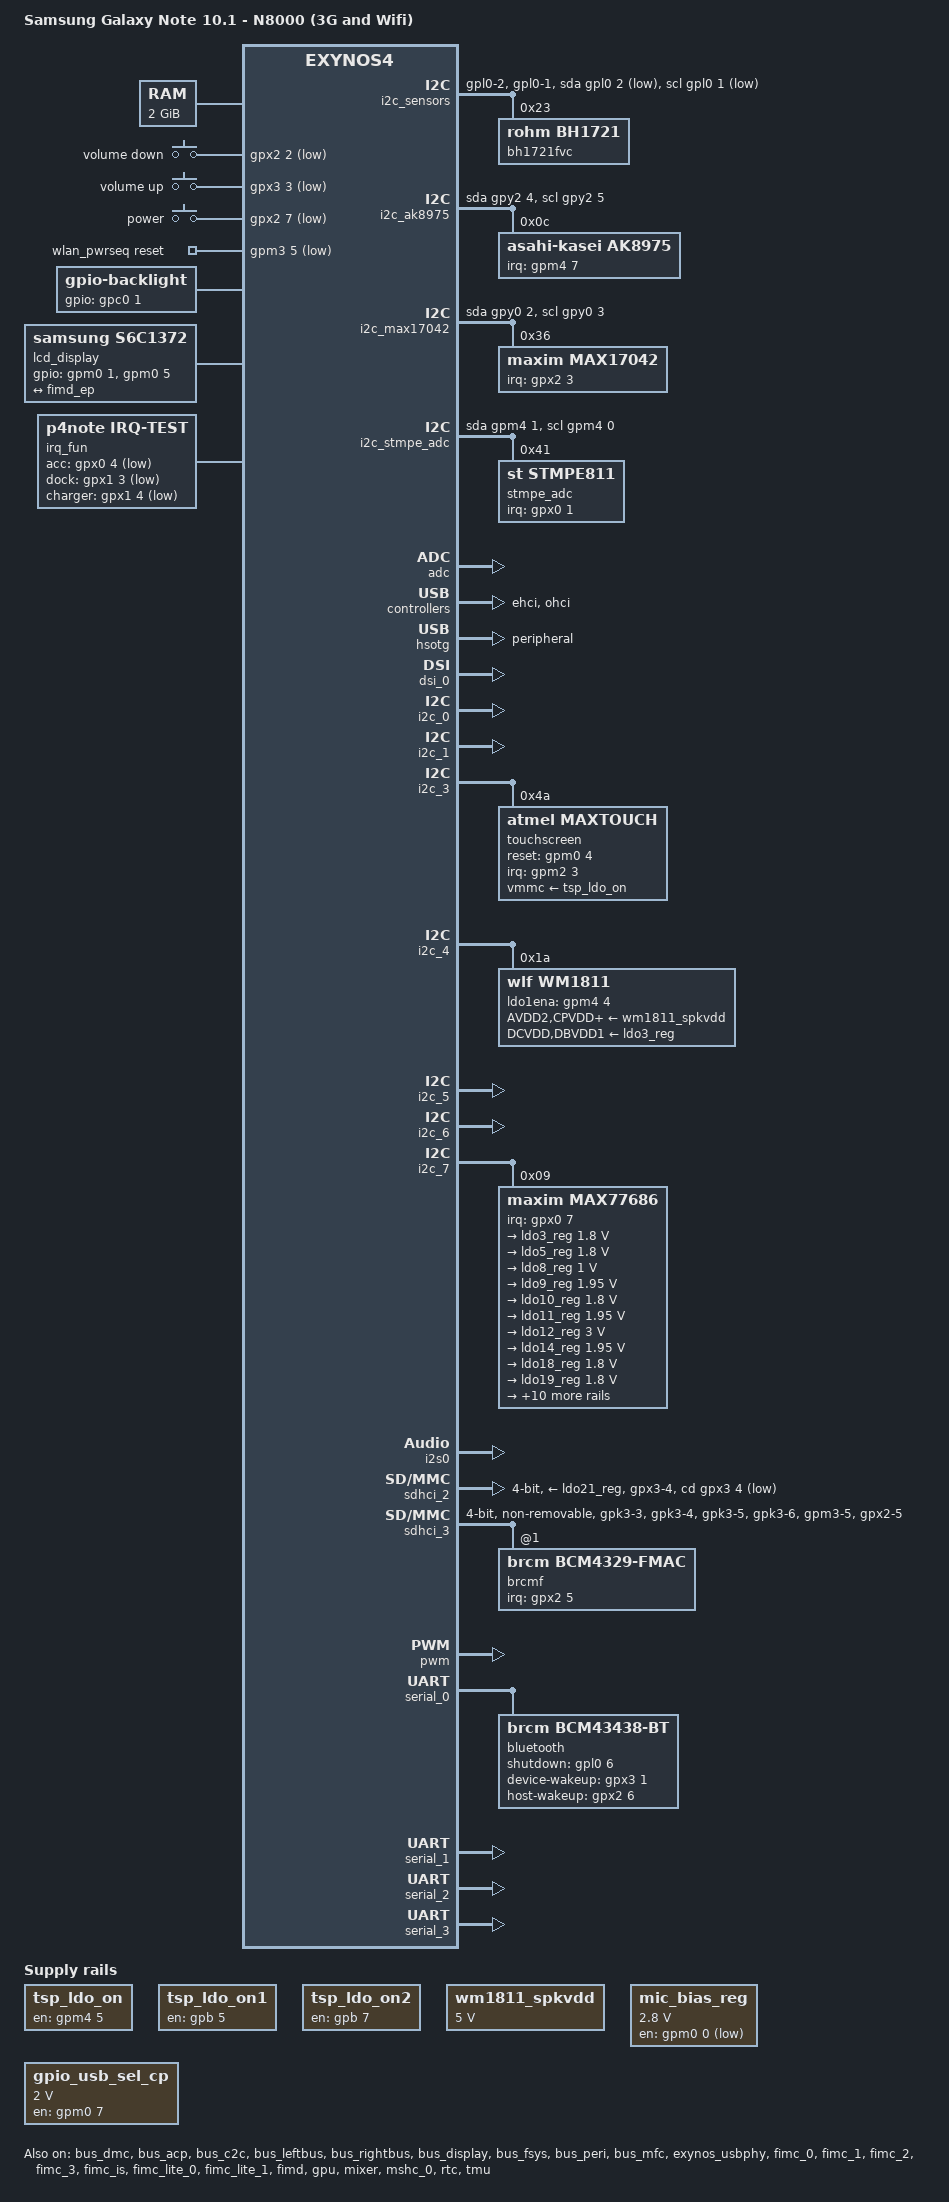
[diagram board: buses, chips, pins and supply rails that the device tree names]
// SPDX-License-Identifier: GPL-2.0
/*
 * Samsung's Exynos4412 based SMDK board device tree source
 *
 * Copyright (c) 2012-2013 Samsung Electronics Co., Ltd.
 *		http://www.samsung.com
 *
 * Device tree source file for Samsung's SMDK4412 board which is based on
 * Samsung's Exynos4412 SoC.
 */

/dts-v1/;
#include "exynos4412.dtsi"
#include "exynos4412-ppmu-common.dtsi"

#include <dt-bindings/input/input.h>
#include <dt-bindings/gpio/gpio.h>
#include <dt-bindings/input/gpio-keys.h>
#include <dt-bindings/interrupt-controller/irq.h>
#include <dt-bindings/clock/maxim,max77686.h>
#include <dt-bindings/pinctrl/samsung.h>

/ {
	model = "Samsung Galaxy Note 10.1 - N8000 (3G and Wifi)";
	compatible = "samsung,n8000", "samsung,smdk4412", "samsung,exynos4412", "samsung,exynos4";

	memory@40000000 {
		device_type = "memory";
		reg = <0x40000000 0x20000000
				0x60000000 0x20000000
				0x80000000 0x20000000
				0xA0000000 0x1FC00000>;
	};

	chosen {
		bootargs = "root=/dev/mmcblk2p9 rw ignore_loglevel earlyprintk init=/init androidboot.selinux=permissive androidboot.console=ttySAC2 androidboot.hardware=smdk4x12 no_console_suspend";
		stdout-path = "serial2:115200n8";
	};

	firmware@204f000 {
		compatible = "samsung,secure-firmware";
		reg = <0x0204F000 0x1000>;
	};

	fixed-rate-clocks {
		xxti {
			compatible = "samsung,clock-xxti", "fixed-clock";
			clock-frequency = <0>;
		};

		xusbxti {
			compatible = "samsung,clock-xusbxti", "fixed-clock";
			clock-frequency = <24000000>;
		};
	};

	gpio-keys {
		compatible = "gpio-keys";
		pinctrl-names = "default";
		pinctrl-0 = <&gpio_keys>;

		key-down {
			gpios = <&gpx2 2 GPIO_ACTIVE_LOW>;
			linux,code = <KEY_VOLUMEDOWN>;
			label = "volume down";
			debounce-interval = <10>;
		};

		key-up {
			gpios = <&gpx3 3 GPIO_ACTIVE_LOW>;
			linux,code = <KEY_VOLUMEUP>;
			label = "volume up";
			debounce-interval = <10>;
		};

		key-power {
			gpios = <&gpx2 7 GPIO_ACTIVE_LOW>;
			linux,code = <KEY_POWER>;
			label = "power";
			debounce-interval = <10>;
			linux,can-disable;
			wakeup-source;
		};
	};

	tsp_ldo_on: voltage-regulator-1 {
		compatible = "regulator-fixed";
		regulator-name = "TSP_LDO_ON";
		gpios = <&gpm4 5 GPIO_ACTIVE_HIGH>;
		enable-active-high;
	};

	tsp_ldo_on1: voltage-regulator-2 {
		compatible = "regulator-fixed";
		regulator-name = "TSP_LDO_ON1";
		gpios = <&gpb 5 GPIO_ACTIVE_HIGH>;
		enable-active-high;
	};

	tsp_ldo_on2: voltage-regulator-3 {
		compatible = "regulator-fixed";
		regulator-name = "TSP_LDO_ON2";
		gpios = <&gpb 7 GPIO_ACTIVE_HIGH>;
		enable-active-high;
	};

	wm1811_spkvdd: fixed-regulator-spkvdd {
		compatible = "regulator-fixed";
		regulator-name = "VBATT";
		regulator-min-microvolt = <5000000>;
		regulator-max-microvolt = <5000000>;
		regulator-always-on;
	};

	mic_bias_reg: mic-bias-reg {
		compatible = "regulator-fixed";
		regulator-name = "MICBIAS_LDO_2.8V";
		regulator-min-microvolt = <2800000>;
		regulator-max-microvolt = <2800000>;
		gpios = <&gpm0 0 GPIO_ACTIVE_HIGH>;
	};

	gpio_usb_sel_cp: voltage-regulator-4 {
		compatible = "regulator-fixed";
		regulator-name = "GPIO_USB_SEL_CP";
		regulator-min-microvolt = <2000000>;
		regulator-max-microvolt = <2000000>;
		gpios = <&gpm0 7 GPIO_ACTIVE_HIGH>;
		pinctrl-names = "default";
		pinctrl-0 = <&usb_cp>;
		enable-active-high;
	};

	wlan_pwrseq: sdhci3-pwrseq {
		compatible = "mmc-pwrseq-simple";
		reset-gpios = <&gpm3 5 GPIO_ACTIVE_LOW>;
		clocks = <&max77686 MAX77686_CLK_PMIC>;
		clock-names = "ext_clock";
	};

	backlight {
		compatible = "gpio-backlight";
		pinctrl-names = "default";
		pinctrl-0 = <&pinctrl_0>;
		gpios = <&gpc0 1 GPIO_ACTIVE_HIGH>;
		power-domains = <&pd_lcd0>;
	};

	lcd_display: s6c1372 {
		compatible = "samsung,s6c1372";
		gpios = <&gpm0 1 GPIO_ACTIVE_HIGH
					&gpm0 5 GPIO_ACTIVE_HIGH>;

		port {
			lcd_ep: endpoint {
				remote-endpoint = <&fimd_ep>;
			};
		};
	};

	irq_fun: irq-fun {
		compatible = "p4note,irq-test";

		pinctrl-names = "default";
		pinctrl-0 = <&accessory_int &dock_int &ta_connected_int>;

		acc-gpios = <&gpx0 4 GPIO_ACTIVE_LOW>;
		dock-gpios = <&gpx1 3 GPIO_ACTIVE_LOW>;
		charger-gpios = <&gpx1 4 GPIO_ACTIVE_LOW>;
	};

	i2c_sensors: i2c@9 {
		compatible = "i2c-gpio";
		sda-gpios = <&gpl0 2 (GPIO_ACTIVE_LOW|GPIO_OPEN_DRAIN)>;
		scl-gpios =	<&gpl0 1 (GPIO_ACTIVE_LOW|GPIO_OPEN_DRAIN)>;
		
		pinctrl-names = "default";
		pinctrl-0 = <&sensor_init>;

		i2c-gpio,delay-us = <2>;
		#address-cells = <1>;
		#size-cells = <0>;
		status = "okay";

		bh1721fvc: light-sensor@23 {
			compatible = "rohm,bh1721";
			reg = <0x23>;
		};

		/*
		al3201: light-sensor@1c {
			// to be ported
		};
		*/
	};

	i2c_ak8975: i2c@10 {
		compatible = "i2c-gpio";
		sda-gpios = <&gpy2 4 (GPIO_ACTIVE_HIGH|GPIO_OPEN_DRAIN)>;
		scl-gpios = <&gpy2 5 (GPIO_ACTIVE_HIGH|GPIO_OPEN_DRAIN)>;
		
		i2c-gpio,delay-us = <2>;
		#address-cells = <1>;
		#size-cells = <0>;
		status = "okay";

		ak8975: magnetometer@c {
			compatible = "asahi-kasei,ak8975";
			reg = <0x0c>;
			interrupt-parent = <&gpm4>;
			interrupts = <7 IRQ_TYPE_EDGE_RISING>;
			pinctrl-names = "default";
			pinctrl-0 = <&ak8975_interrupt>;
		};
	};

	/*
	i2c_smb347: i2c@13 {
		compatible = "i2c-gpio";
		sda-gpios = <&gpm2 0 (GPIO_ACTIVE_HIGH|GPIO_OPEN_DRAIN)>;
		scl-gpios = <&gpm2 1 (GPIO_ACTIVE_HIGH|GPIO_OPEN_DRAIN)>;

		i2c-gpio,delay-us = <2>;
		#address-cells = <1>;
		#size-cells = <0>;
		status = "okay";

		smb347: charger@6 {
			// need to add CONFIG_OF to driver
			compatible = "sme,smb347";
			reg = <0x6>;
			pinctrl-names = "default";
			pinctrl-0 = <&charger_change>;
			gpios = <&gpm4 2 GPIO_ACTIVE_HIGH>, // enable
					<&gpm0 3 GPIO_ACTIVE_HIGH>, // stat
					<&gpx1 4 GPIO_ACTIVE_HIGH>; // ta_nconnected
			
		};
	};
	*/

	i2c_max17042: i2c@14 {
		compatible = "i2c-gpio";
		sda-gpios = <&gpy0 2 (GPIO_ACTIVE_HIGH|GPIO_OPEN_DRAIN)>;
		scl-gpios = <&gpy0 3 (GPIO_ACTIVE_HIGH|GPIO_OPEN_DRAIN)>;
		
		i2c-gpio,delay-us = <2>;
		#address-cells = <1>;
		#size-cells = <0>;
		status = "okay";

		max17042: battery@36 {
			compatible = "maxim,max17042";
			reg = <0x36>;
			interrupts = <3 IRQ_TYPE_EDGE_FALLING>;
			interrupt-parent = <&gpx2>;
			maxim,rsns-microohm = <10000>;
			maxim,over-heat-temp = <600>;
			maxim,over-volt = <4300>;
		};
	};

	/* 
	i2c_isa1200: i2c@17 {
		compatible = "i2c-gpio";
		sda-gpios = <&gpm1 0 (GPIO_ACTIVE_HIGH|GPIO_OPEN_DRAIN)>;
		scl-gpios = <&gpm1 1 (GPIO_ACTIVE_HIGH|GPIO_OPEN_DRAIN)>;
		
		#address-cells = <1>;
		#size-cells = <0>;
		status = "okay";

		isa1200: motor@48 {
			// to be ported
		};
	};
	 */

	i2c_stmpe_adc: i2c@19 {	
		compatible = "i2c-gpio";
		sda-gpios = <&gpm4 1 (GPIO_ACTIVE_HIGH|GPIO_OPEN_DRAIN)>;
		scl-gpios = <&gpm4 0 (GPIO_ACTIVE_HIGH|GPIO_OPEN_DRAIN)>;

		i2c-gpio,delay-us = <5>;
		#address-cells = <1>;
		#size-cells = <0>;
		status = "okay";

		stmpe_adc: mfd-adc@41 {
			compatible = "st,stmpe811";
			reg = <0x41>;
			interrupt-parent = <&gpx0>;
			interrupts = <1 IRQ_TYPE_LEVEL_LOW>;
			interrupt-controller;
			irq-trigger = <0x1>;
			// Common ADC settings
			// 6.5 MHz ADC clock speed, not 1.625 as mentioned in the original kernel sources!
			st,adc-freq = <3>;
			// 12-bit ADC
			st,mod-12b = <1>;
			// internal ADC reference
			st,ref-sel = <0>;
			// ADC converstion time: 64 clocks
			st,sample-time = <3>;
			status = "okay";

			stmpe_adc {
				compatible = "st,stmpe-adc";
				// only allow requests on channel 4 (mic jack), channel 6 (battery temp?) and channel 7 (30 pin connector resistor)
				st,norequest-mask = <0x2F>;
			};
		};
	};

	/* 
	i2c_mc96: i2c@22 {
		compatible = "i2c-gpio";
		sda-gpios = <&gpy0 0 GPIO_ACTIVE_LOW>;
		scl-gpios = <&gpy0 1 GPIO_ACTIVE_LOW>;
		
		i2c-gpio,delay-us = <2>;
		#address-cells = <1>;
		#size-cells = <0>;
		status = "okay";

		mc96: irled@50 {
			// to be ported
		};
	};
	*/

	wm1811_n8000: sound {
		compatible = "samsung,smdk-wm8994";

		samsung,i2s-controller = <&i2s0>;
		samsung,audio-codec = <&wm1811>;
	};

	/*wm1811_n8000: sound {
		compatible = "samsung,midas-audio";
		model = "WM1811 @ N8000";
		mic-bias-supply = <&mic_bias_reg>;
		lineout-sel-gpios = <&gpj1 2 GPIO_ACTIVE_HIGH>;
		i2s-controller = <&i2s0>;
		audio-codec = <&wm1811>;
		samsung,audio-routing =
			"HP", "HPOUT1L",
			"HP", "HPOUT1R",

			"SPK", "SPKOUTLN",
			"SPK", "SPKOUTLP",
			"SPK", "SPKOUTRN",
			"SPK", "SPKOUTRP",

			"RCV", "HPOUT2N",
			"RCV", "HPOUT2P",

			//"LINE", "LINEOUT2N",
			//"LINE", "LINEOUT2P",

			"HDMI", "LINEOUT1N",
			"HDMI", "LINEOUT1P",

			"IN1LP", "MICBIAS1",
			"IN1LN", "MICBIAS1",
			//"MICBIAS1", "Main Mic",

			"IN1RP", "Sub Mic",
			"IN1RN", "Sub Mic";

			//"IN2LP:VXRN", "MICBIAS2",
			//"MICBIAS2", "Headset Mic",

			//"IN2RN", "FM In",
			//"IN2RP:VXRP", "FM In",

			//"IN2RN", "Third Mic",
			//"IN2RP:VXRP", "Third Mic";
	};*/

	thermal-zones {
		cpu_thermal: cpu-thermal {
			cooling-maps {
				map0 {
					/* Corresponds to 800MHz at freq_table */
					cooling-device = <&cpu0 7 7>, <&cpu1 7 7>,
						      <&cpu2 7 7>, <&cpu3 7 7>;
				};
				map1 {
					/* Corresponds to 200MHz at freq_table */
					cooling-device = <&cpu0 13 13>,
							<&cpu1 13 13>,
							<&cpu2 13 13>,
						<&cpu3 13 13>;
				};
			};
		};
	};

};

&adc {
	vdd-supply = <&ldo3_reg>;
	status = "okay";
};

&bus_dmc {
	devfreq-events = <&ppmu_dmc0_3>, <&ppmu_dmc1_3>;
	vdd-supply = <&buck1_reg>;
	status = "okay";
};

&bus_acp {
	devfreq = <&bus_dmc>;
	status = "okay";
};

&bus_c2c {
	devfreq = <&bus_dmc>;
	status = "okay";
};

&bus_leftbus {
	devfreq-events = <&ppmu_leftbus_3>, <&ppmu_rightbus_3>;
	vdd-supply = <&buck3_reg>;
	status = "okay";
};

&bus_rightbus {
	devfreq = <&bus_leftbus>;
	status = "okay";
};

&bus_display {
	devfreq = <&bus_leftbus>;
	status = "okay";
};

&bus_fsys {
	devfreq = <&bus_leftbus>;
	status = "okay";
};

&bus_peri {
	devfreq = <&bus_leftbus>;
	status = "okay";
};

&bus_mfc {
	devfreq = <&bus_leftbus>;
	status = "okay";
};

&cpu0 {
	cpu0-supply = <&buck2_reg>;
};

&exynos_usbphy {
	vbus-supply = <&gpio_usb_sel_cp>;
	status = "okay";
};

&ehci {
	status = "okay";
	port@0 {
		status = "okay";
		phy-names = "host";
	};
	port@1 {
		status = "okay";
		phy-names = "hsic0";
	};
	port@2 {
		status = "okay";
		phy-names = "hsic1";
	};
};

&ohci {
	status = "okay";
};

&hsotg {
	vusb_a-supply = <&ldo12_reg>;
	dr_mode = "peripheral";
	status = "okay";
};


&dsi_0 {
	vddcore-supply = <&ldo8_reg>;
	vddio-supply = <&ldo10_reg>;
	samsung,burst-clock-frequency = <500000000>;
	samsung,esc-clock-frequency = <20000000>;
	samsung,pll-clock-frequency = <24000000>;
	status = "okay";
	ports {
		#address-cells = <1>;
		#size-cells = <0>;

		port@1 {
			reg = <1>;

			dsi_out: endpoint@0 {
				status = "okay";
			};

		};

	};
};

&fimc_0 {
	status = "okay";
	assigned-clocks = <&clock CLK_MOUT_FIMC0>,
			<&clock CLK_SCLK_FIMC0>;
	assigned-clock-parents = <&clock CLK_MOUT_MPLL_USER_T>;
	assigned-clock-rates = <0>, <176000000>;
};

&fimc_1 {
	status = "okay";
	assigned-clocks = <&clock CLK_MOUT_FIMC1>,
			<&clock CLK_SCLK_FIMC1>;
	assigned-clock-parents = <&clock CLK_MOUT_MPLL_USER_T>;
	assigned-clock-rates = <0>, <176000000>;
};

&fimc_2 {
	status = "okay";
	assigned-clocks = <&clock CLK_MOUT_FIMC2>,
			<&clock CLK_SCLK_FIMC2>;
	assigned-clock-parents = <&clock CLK_MOUT_MPLL_USER_T>;
	assigned-clock-rates = <0>, <176000000>;
};

&fimc_3 {
	status = "okay";
	assigned-clocks = <&clock CLK_MOUT_FIMC3>,
			<&clock CLK_SCLK_FIMC3>;
	assigned-clock-parents = <&clock CLK_MOUT_MPLL_USER_T>;
	assigned-clock-rates = <0>, <176000000>;
};

&fimc_is {
	pinctrl-0 = <&fimc_is_uart>;
	pinctrl-names = "default";
	status = "okay";
};

&fimc_lite_0 {
	status = "okay";
};

&fimc_lite_1 {
	status = "okay";
};

&pmu_system_controller {
	compatible = "samsung,exynos4412-pmu", "syscon", "simple-mfd";
	assigned-clocks = <&pmu_system_controller 0>;
	assigned-clock-parents =  <&clock CLK_XUSBXTI>;

	reboot-mode {
		compatible = "syscon-reboot-mode";
		offset = <0x80c>;

		mode-normal = <0x12345670>;
		mode-bootloader = <0x12345671>;
		mode-download = <0x12345671>;
		mode-recovery = <0x12345674>;
	};
};


&fimd {
	pinctrl-0 = <&lcd_clk &lcd_data24 &pwm1_out>;
	pinctrl-names = "default";
	status = "okay";

	display-timings {
		native-mode = <&timing0>;
		timing0: 800p24 {
			/* 1280x800p24 */
			clock-frequency = <60000000>;
			hactive = <1280>;
			vactive = <800>;
			hfront-porch = <18>;
			hback-porch = <36>;
			hsync-len = <16>;
			vback-porch = <16>;
			vfront-porch = <4>;
			vsync-len = <3>;
			hsync-active = <1>;
		};
	};
	port@3 {
		fimd_ep: endpoint {
			remote-endpoint = <&lcd_ep>;
		};
	};
};

&i2c_0 {
	samsung,i2c-sda-delay = <100>;
	samsung,i2c-slave-addr = <0x10>;
	samsung,i2c-max-bus-freq = <400000>;
	pinctrl-0 = <&i2c1_bus>;
	pinctrl-names = "default";
	status = "okay";
};

&i2c_1 {
	samsung,i2c-sda-delay = <100>;
	samsung,i2c-slave-addr = <0x10>;
	samsung,i2c-max-bus-freq = <400000>;
	pinctrl-0 = <&i2c2_bus>;
	pinctrl-names = "default";
	status = "okay";
};

&i2c_3 {
	// touchscreen
	samsung,i2c-sda-delay = <100>;
	samsung,i2c-slave-addr = <0x10>;
	samsung,i2c-max-bus-freq = <400000>;
	pinctrl-0 = <&i2c3_bus>;
	pinctrl-names = "default";
	status = "okay";

	touchscreen@4a {
		compatible = "atmel,maxtouch";
		reg = <0x4A>;
		reset-gpios = <&gpm0 4 GPIO_ACTIVE_HIGH>;
		interrupt-parent = <&gpm2>;
		interrupts = <3 IRQ_TYPE_LEVEL_LOW>;
		pinctrl-0 = <&tsp_ldo_init &tsp_rst &tsp_int>;
		pinctrl-names = "default";
		vmmc-supply = <&tsp_ldo_on &tsp_ldo_on1 &tsp_ldo_on2>;
		linux,gpio-keymap = <KEY_RESERVED KEY_RESERVED KEY_RESERVED BTN_TOUCH>;
	};
};

&i2c_4 {
	// audio
	samsung,i2c-sda-delay = <100>;
	samsung,i2c-slave-addr = <0x10>;
	samsung,i2c-max-bus-freq = <100000>;
	pinctrl-0 = <&i2c4_bus>;
	pinctrl-names = "default";
	status = "okay";

	wm1811: wm1811@1a {
		compatible = "wlf,wm1811";
		reg = <0x1a>;
		
		clocks = <&pmu_system_controller 0>,
				<&max77686 MAX77686_CLK_PMIC>;
		clock-names = "MCLK1", "MCLK2";
		
		gpio-controller;
		#gpio-cells = <2>;

		AVDD2-supply = <&wm1811_spkvdd>;
		DCVDD-supply = <&ldo3_reg>;
		CPVDD-supply = <&wm1811_spkvdd>;
		DBVDD1-supply = <&ldo3_reg>;
		DBVDD2-supply = <&wm1811_spkvdd>;
		DBVDD3-supply = <&wm1811_spkvdd>;
		SPKVDD1-supply = <&wm1811_spkvdd>;
		SPKVDD2-supply = <&wm1811_spkvdd>;
		
		wlf,micbias-cfg = <0x2F 0x27>;
		wlf,gpio-cfg = <0x3 0x0 0x0 0x0 0x0 0x0 0x0 0x8000 0x0 0x0 0x0>;
		
		wlf,lineout1-feedback;
		wlf,lineout1-se;
		wlf,lineout2-se;
		
		wlf,ldo1ena-gpios = <&gpm4 4 GPIO_ACTIVE_HIGH>;
		wlf,ldoena-always-driven;
	};
};

&i2c_5 {
	// this should be max77686 but hangs if moved over here
	samsung,i2c-sda-delay = <100>;
	samsung,i2c-slave-addr = <0x10>;
	samsung,i2c-max-bus-freq = <400000>;
	pinctrl-0 = <&i2c5_bus>;
	pinctrl-names = "default";
	status = "okay";
};


&i2c_6 {
	// wacom pen
	samsung,i2c-sda-delay = <100>;
	samsung,i2c-slave-addr = <0x10>;
	samsung,i2c-max-bus-freq = <400000>;
	pinctrl-0 = <&i2c6_bus>;
	pinctrl-names = "default";
	status = "okay";
};

&i2c_7 {
	// it looks like a max77686, it moves like a max77686 but this shouldn't be a max77686
	samsung,i2c-sda-delay = <100>;
	samsung,i2c-slave-addr = <0x10>;
	samsung,i2c-max-bus-freq = <400000>;
	pinctrl-0 = <&i2c7_bus>;
	pinctrl-names = "default";
	status = "okay";

	max77686: max77686_pmic@9 {
		compatible = "maxim,max77686";
		interrupt-parent = <&gpx0>;
		interrupts = <7 IRQ_TYPE_NONE>;
		pinctrl-0 = <&max77686_irq>;
		pinctrl-names = "default";
		reg = <0x09>;
		#clock-cells = <1>;

		voltage-regulators {
			
			// WM8994 audio
			ldo3_reg: LDO3 {
				regulator-name = "VCC_1.8V_AP";
				regulator-min-microvolt = <1800000>;
				regulator-max-microvolt = <1800000>;
				regulator-always-on;
				regulator-boot-on;

				regulator-state-mem {
					regulator-on-in-suspend;
				};
			};

			// ?
			ldo5_reg: LDO5 {
				regulator-name = "VCC_1.8V_IO";
				regulator-min-microvolt = <1800000>;
				regulator-max-microvolt = <1800000>;

				regulator-state-mem {
					regulator-off-in-suspend;
				};
			};

			// CAMERA/LCD/HDMI
			ldo8_reg: LDO8 {
				regulator-name = "VMIPI_1.0V";
				regulator-min-microvolt = <1000000>;
				regulator-max-microvolt = <1000000>;
				regulator-always-on;
				regulator-boot-on;

				regulator-state-mem {
					regulator-on-in-suspend;
				};
			};

			// IRDA: on/off
			ldo9_reg: LDO9 {
				regulator-name = "VLED_IC_1.9V";
				regulator-min-microvolt = <1950000>;
				regulator-max-microvolt = <1950000>;
				regulator-always-on;
				regulator-boot-on;

				regulator-state-mem {
					regulator-off-in-suspend;
				};
			};

			// CAMERA/LCD/HDMI
			ldo10_reg: LDO10 {
				regulator-name = "VMIPI_1.8V";
				regulator-min-microvolt = <1800000>;
				regulator-max-microvolt = <1800000>;
				regulator-always-on;
				regulator-boot-on;

				regulator-state-mem {
					regulator-on-in-suspend;
				};
			};

			// ?
			ldo11_reg: LDO11 {
				regulator-name = "VABB1_1.9V";
				regulator-min-microvolt = <1950000>;
				regulator-max-microvolt = <1950000>;
				regulator-always-on;
				regulator-boot-on;

				regulator-state-mem {
					regulator-off-in-suspend;
				};
			};

			// ?
			ldo12_reg: LDO12 {
				regulator-name = "VUOTG_3.0V";
				regulator-min-microvolt = <3000000>;
				regulator-max-microvolt = <3000000>;
				regulator-always-on;
				regulator-boot-on;

				regulator-state-mem {
					regulator-on-in-suspend;
				};
			};

			// ?
			ldo14_reg: LDO14 {
				regulator-name = "VABB2_1.9V";
				regulator-min-microvolt = <1950000>;
				regulator-max-microvolt = <1950000>;
				regulator-always-on;
				regulator-boot-on;

				regulator-state-mem {
					regulator-off-in-suspend;
				};
			};

			// CAM: ISX012
			ldo18_reg: LDO18 {
				regulator-name = "CAM_IO_1.8V";
				regulator-min-microvolt = <1800000>;
				regulator-max-microvolt = <1800000>;

				regulator-state-mem {
					regulator-off-in-suspend;
				};
			};

			// CAM: S5K6A3
			ldo19_reg: LDO19 {
				regulator-name = "VT_CORE_1.8V";
				regulator-min-microvolt = <1800000>;
				regulator-max-microvolt = <1800000>;

				regulator-state-mem {
					regulator-off-in-suspend;
				};
			};

			// MMC2
			ldo21_reg: LDO21 {
				regulator-name = "VTF_2.8V";
				regulator-min-microvolt = <2800000>;
				regulator-max-microvolt = <2800000>;
				maxim,ena-gpios = <&gpy0 4 GPIO_ACTIVE_HIGH>;

				regulator-state-mem {
					regulator-off-in-suspend;
				};
			};

			// ? vdd_adc_3.3v
			ldo23_reg: LDO23 {
				regulator-name = "VDD_ADC_3.3V";
				regulator-min-microvolt = <3300000>;
				regulator-max-microvolt = <3300000>;
				regulator-always-on;
				regulator-boot-on;

				regulator-state-mem {
					regulator-off-in-suspend;
				};
			};

			// CAM: S5K6A3
			ldo24_reg: LDO24 {
				regulator-name = "CAM_A2.8V";
				regulator-min-microvolt = <2800000>;
				regulator-max-microvolt = <2800000>;

				regulator-state-mem {
					regulator-off-in-suspend;
				};
			};

			// IRDA: sending
			ldo25_reg: LDO25 {
				regulator-name = "VLED_3.3V";
				regulator-min-microvolt = <3300000>;
				regulator-max-microvolt = <3300000>;

				regulator-state-mem {
					regulator-off-in-suspend;
				};
			};

			// CAM: ISX012
			ldo26_reg: LDO26 {
				regulator-name = "3MP_AF_2.8V";
				regulator-min-microvolt = <2800000>;
				regulator-max-microvolt = <2800000>;

				regulator-state-mem {
					regulator-off-in-suspend;
				};
			};

			// exynos4412-busfreq
			buck1_reg: BUCK1 {
				regulator-name = "vdd_mif";
				regulator-min-microvolt = <850000>;
				regulator-max-microvolt = <1050000>;
				regulator-always-on;
				regulator-boot-on;
			};

			// cpu freq
			buck2_reg: BUCK2 {
				regulator-name = "vdd_arm";
				regulator-min-microvolt = <850000>;
				regulator-max-microvolt = <1500000>;
				regulator-always-on;
				regulator-boot-on;
			};

			// exynoss4412-busfreq
			buck3_reg: BUCK3 {
				regulator-name = "vdd_int";
				regulator-min-microvolt = <850000>;
				regulator-max-microvolt = <1100000>;
				regulator-always-on;
				regulator-boot-on;
			};

			// mali GPU
			buck4_reg: BUCK4 {
				regulator-name = "vdd_g3d";
				regulator-min-microvolt = <850000>;
				regulator-max-microvolt = <1075000>;
				regulator-boot-on;
				
			};

			// CAM: ISX012
			buck9_reg: BUCK9 {
				regulator-name = "3MP_CORE_1.2V";
				regulator-min-microvolt = <1200000>;
				regulator-max-microvolt = <1200000>;
				regulator-state-mem {
					regulator-off-in-suspend;
				};
			};
		};
	};
};

&gpu {
	mali-supply = <&buck4_reg>;
	status = "okay";
};

&i2s0 {
	pinctrl-0 = <&i2s0_bus>;
	pinctrl-names = "default";
	status = "okay";
};

&mixer {
	status = "okay";
};

&sdhci_2 {
	bus-width = <4>;
	cd-gpios = <&gpx3 4 GPIO_ACTIVE_LOW>;
	pinctrl-0 = <&sd2_clk &sd2_cmd &sd2_bus4 &sdhci2_cd>;
	pinctrl-names = "default";
	vmmc-supply = <&ldo21_reg>;
	status = "okay";
};

// internal memory
&mshc_0 {
	broken-cd;
	non-removable;
	card-detect-delay = <200>;
	clock-frequency = <400000000>;
	samsung,dw-mshc-ciu-div = <0>;
	samsung,dw-mshc-sdr-timing = <2 3>;
	samsung,dw-mshc-ddr-timing = <1 2>;
	pinctrl-0 = <&sd4_clk &sd4_cmd &sd4_bus4 &sd4_bus8>;
	pinctrl-names = "default";
	status = "okay";
	bus-width = <4>;
	cap-mmc-highspeed;
	cap-sd-highspeed;
};

// sdcard
&sdhci_3 {
	#address-cells = <1>;
	#size-cells = <0>;
	non-removable;
	bus-width = <4>;
	mmc-pwrseq = <&wlan_pwrseq>;

	pinctrl-names = "default";
	pinctrl-0 = <&sd3_clk &sd3_cmd &sd3_wifi &wifi_on &wifi_host_wake>;
	status = "okay";

	brcmf: wifi@1 {
		reg = <1>;
		compatible = "brcm,bcm4329-fmac";
		interrupt-parent = <&gpx2>;
		interrupts = <5 IRQ_TYPE_LEVEL_HIGH>;
		interrupt-names = "host-wake";
	};
};

&pinctrl_0 {
	pinctrl-names = "default";
	pinctrl-0 = <&sleep0 &ear_mic_bias &lineout_en>;

	tsp_ldo_init: tsp-ldo-init {
		samsung,pins = "gpb-5", "gpb-7";
		samsung,pin-function = <EXYNOS_PIN_FUNC_OUTPUT>;
		samsung,pin-pud = <EXYNOS_PIN_PULL_NONE>;
		samsung,pin-val = <1>;
	};

	ear_mic_bias: ear-mic-bias {
		samsung,pins = "gpj0-3";
		samsung,pin-function = <EXYNOS_PIN_FUNC_OUTPUT>;
		samsung,pin-pud = <EXYNOS_PIN_PULL_NONE>;
	};

	lineout_en: lineout-en {
		samsung,pins = "gpj1-2";
		samsung,pin-function = <EXYNOS_PIN_FUNC_OUTPUT>;
		samsung,pin-pud = <EXYNOS_PIN_PULL_NONE>;
	};

	sleep0: sleep-states {
		PIN_SLP(gpa0-0, INPUT, NONE); /* Bluetooth RXD */
		PIN_SLP(gpa0-1, OUT0, NONE); /* Bluetooth TXD */
		PIN_SLP(gpa0-2, INPUT, NONE); /* Bluetooth CTS */
		PIN_SLP(gpa0-3, INPUT, UP); /* Bluetooth RTS */
		PIN_SLP(gpa0-4, INPUT, NONE); /* GPS RXD */
		PIN_SLP(gpa0-5, INPUT, DOWN); /* GPS TXD */
		PIN_SLP(gpa0-6, INPUT, DOWN); /* GPS CTS */
		PIN_SLP(gpa0-7, INPUT, UP); /* GPS RTS */

		PIN_SLP(gpa1-0, INPUT, DOWN); /* ? UART 2 RXD ? */
		PIN_SLP(gpa1-1, INPUT, DOWN); /* ? UART 2 TXD ? */
		PIN_SLP(gpa1-2, INPUT, DOWN); /* TS SDA 18V */
		PIN_SLP(gpa1-3, INPUT, DOWN); /* TS SCL 18V */
		PIN_SLP(gpa1-4, INPUT, DOWN); /* NC(IPC_RXD) -> Modem */
		PIN_SLP(gpa1-5, INPUT, DOWN); /* NC(IPC_TXD) -> Modem */

		PIN_SLP(gpb-0, INPUT, NONE);
		PIN_SLP(gpb-1, INPUT, NONE);
		PIN_SLP(gpb-2, INPUT, NONE);
		PIN_SLP(gpb-3, INPUT, NONE);
		PIN_SLP(gpb-4, INPUT, DOWN);
		PIN_SLP(gpb-5, INPUT, DOWN); /* NC */
		PIN_SLP(gpb-6, INPUT, DOWN);
		PIN_SLP(gpb-7, INPUT, DOWN);

		PIN_SLP(gpc0-0, INPUT, DOWN); /* REC_PCM_CLK(NC) */
		PIN_SLP(gpc0-1, INPUT, DOWN); /* LCD_EN */
		PIN_SLP(gpc0-2, INPUT, DOWN); /* REC_PCM_SYNC(NC) */
		PIN_SLP(gpc0-3, INPUT, DOWN); /* REC_PCM_IN(NC) */
		PIN_SLP(gpc0-4, INPUT, DOWN); /* REC_PCM_OUT(NC) */

		PIN_SLP(gpc1-0, INPUT, UP); /* PEN_PDCT */
		PIN_SLP(gpc1-1, PREV, NONE); /* PEN_LDO_EN */
		PIN_SLP(gpc1-2, INPUT, UP); /* PEN_IRQ_1.8V */
		PIN_SLP(gpc1-3, INPUT, UP); /* PEN_SDA_1.8V */
		PIN_SLP(gpc1-4, INPUT, UP); /* PEN_SCL_1.8V */

		PIN_SLP(gpd0-0, INPUT, DOWN); /* NC */
		PIN_SLP(gpd0-1, OUT0, NONE); /* LED_BACKLIGHT_PWM */
		PIN_SLP(gpd0-2, INPUT, NONE);
		PIN_SLP(gpd0-3, INPUT, NONE);

		PIN_SLP(gpd1-0, INPUT, DOWN); /* 3M_SDA_1.8V */
		PIN_SLP(gpd1-1, INPUT, DOWN); /* 3M_SCL_1.8V */
		PIN_SLP(gpd1-2, INPUT, NONE);
		PIN_SLP(gpd1-3, INPUT, NONE);

		PIN_SLP(gpf0-0, OUT0, NONE); /* LCD_HSYNC */
		PIN_SLP(gpf0-1, OUT0, NONE); /* LCD_VSYNC */
		PIN_SLP(gpf0-2, OUT0, NONE); /* LCD_DE */
		PIN_SLP(gpf0-3, OUT0, NONE); /* LCD_PCLK */
		PIN_SLP(gpf0-4, OUT0, NONE); /* LCD_D */
		PIN_SLP(gpf0-5, OUT0, NONE); /* LCD_D */
		PIN_SLP(gpf0-6, OUT0, NONE); /* LCD_D */
		PIN_SLP(gpf0-7, OUT0, NONE); /* LCD_D */

		PIN_SLP(gpf1-0, OUT0, NONE); /* LCD_D */
		PIN_SLP(gpf1-1, OUT0, NONE); /* LCD_D */
		PIN_SLP(gpf1-2, OUT0, NONE); /* LCD_D */
		PIN_SLP(gpf1-3, OUT0, NONE); /* LCD_D */
		PIN_SLP(gpf1-4, OUT0, NONE); /* LCD_D */
		PIN_SLP(gpf1-5, OUT0, NONE); /* LCD_D */
		PIN_SLP(gpf1-6, OUT0, NONE); /* LCD_D */
		PIN_SLP(gpf1-7, OUT0, NONE); /* LCD_D */

		PIN_SLP(gpf2-0, OUT0, NONE); /* LCD_D */
		PIN_SLP(gpf2-1, OUT0, NONE); /* LCD_D */
		PIN_SLP(gpf2-2, OUT0, NONE); /* LCD_D */
		PIN_SLP(gpf2-3, OUT0, NONE); /* LCD_D */
		PIN_SLP(gpf2-4, OUT0, NONE); /* LCD_D */
		PIN_SLP(gpf2-5, OUT0, NONE); /* LCD_D */
		PIN_SLP(gpf2-6, OUT0, NONE); /* LCD_D */
		PIN_SLP(gpf2-7, OUT0, NONE); /* LCD_D */

		PIN_SLP(gpf3-0, OUT0, NONE); /* LCD_D */
		PIN_SLP(gpf3-1, OUT0, NONE); /* LCD_D */
		PIN_SLP(gpf3-2, OUT0, NONE); /* LCD_D */
		PIN_SLP(gpf3-3, OUT0, NONE); /* LCD_D */
		PIN_SLP(gpf3-4, OUT0, NONE); /* MHL_RST */
		PIN_SLP(gpf3-5, OUT0, NONE); /* MHL_INT */

		PIN_SLP(gpj0-0, INPUT, DOWN); /* NC */
		PIN_SLP(gpj0-1, INPUT, DOWN); /* NC */
		PIN_SLP(gpj0-2, INPUT, DOWN); /* NC */
		PIN_SLP(gpj0-3, PREV, NONE); /* EAR_MICBIAS_EN */
		PIN_SLP(gpj0-4, PREV, NONE); /* TA_ENABLE */
		PIN_SLP(gpj0-5, OUT0, NONE); /* CAM_EN2 */
		PIN_SLP(gpj0-6, OUT0, NONE); /* CAM_EN1 */
		PIN_SLP(gpj0-7, OUT0, NONE); /* 5M_nSTBY */

		PIN_SLP(gpj1-0, OUT0, NONE); /* VT_CAM_nRST */
		PIN_SLP(gpj1-1, INPUT, DOWN); /* NC */
		PIN_SLP(gpj1-2, PREV, NONE); /* LINEOUT_EN */
		PIN_SLP(gpj1-3, OUT0, NONE); /* 5M_MCLK */
	};
};

&pinctrl_1 {
	pinctrl-names = "default";
	pinctrl-0 = <&sleep1 &uart_sel &usb_acc_en &usb_acc_5v &main_mic_bias>;

	usb_sel1: usb-sel0 {
		samsung,pins = "gpy0-4";
		samsung,pin-function = <EXYNOS_PIN_FUNC_OUTPUT>;
		samsung,pin-pud = <EXYNOS_PIN_PULL_NONE>;
	};

	usb_sel2: usb-sel1 {
		samsung,pins = "gpy0-5";
		samsung,pin-function = <EXYNOS_PIN_FUNC_OUTPUT>;
		samsung,pin-pud = <EXYNOS_PIN_PULL_NONE>;
	};

	usb_cp: usb-cp {
		samsung,pins = "gpm0-7";
		samsung,pin-function = <EXYNOS_PIN_FUNC_OUTPUT>;
		samsung,pin-pud = <EXYNOS_PIN_PULL_NONE>;
	};

	uart_sel: uart-sel {
		samsung,pins = "gpl2-7";
		samsung,pin-function = <EXYNOS_PIN_FUNC_OUTPUT>;
		samsung,pin-pud = <EXYNOS_PIN_PULL_NONE>;
		samsung,pin-val = <1>;
	};

	usb_acc_en: usb-acc-en {
		samsung,pins = "gpl2-6";
		samsung,pin-function = <EXYNOS_PIN_FUNC_OUTPUT>;
		samsung,pin-pud = <EXYNOS_PIN_PULL_NONE>;
		samsung,pin-drv = <EXYNOS4_PIN_DRV_LV1>;
	};

	usb_acc_5v: usb-acc-5v {
		samsung,pins = "gpx3-5";
		samsung,pin-function = <EXYNOS_PIN_FUNC_F>;
		samsung,pin-pud = <EXYNOS_PIN_PULL_NONE>;
		samsung,pin-drv = <EXYNOS4_PIN_DRV_LV1>;
	};

	accessory_int: accessory-int {
		samsung,pins = "gpx0-4";
		samsung,pin-function = <EXYNOS_PIN_FUNC_F>;
		samsung,pin-pud = <EXYNOS_PIN_PULL_NONE>;
		samsung,pin-drv = <EXYNOS4_PIN_DRV_LV1>;
	};

	ta_connected_int: ta-connected {
		samsung,pins = "gpx1-4";
		samsung,pin-function = <EXYNOS_PIN_FUNC_F>;
		samsung,pin-pud = <EXYNOS_PIN_PULL_NONE>;
		samsung,pin-drv = <EXYNOS4_PIN_DRV_LV1>;
	};

	dock_int: dock-int {
		samsung,pins = "gpx1-3";
		samsung,pin-function = <EXYNOS_PIN_FUNC_F>;
		samsung,pin-pud = <EXYNOS_PIN_PULL_NONE>;
		samsung,pin-drv = <EXYNOS4_PIN_DRV_LV1>;
	};

	gpio_keys: gpio-keys {
		samsung,pins = "gpx2-2", "gpx2-7", "gpx3-3";
		samsung,pin-pud = <EXYNOS_PIN_PULL_NONE>;
	};

	wifi_host_wake: wifi-host-wake {
		samsung,pins = "gpx2-5";
		samsung,pin-function = <EXYNOS_PIN_FUNC_F>;
		samsung,pin-pud = <EXYNOS_PIN_PULL_DOWN>;
	};

	max77686_irq: max77686-irq {
		samsung,pins = "gpx0-7";
		samsung,pin-pud = <EXYNOS_PIN_PULL_NONE>;
	};

	sdhci2_cd: sdhci2-cd-irq {
		samsung,pins = "gpx3-4";
		samsung,pin-pud = <EXYNOS_PIN_PULL_NONE>;
	};

	hdmi_hpd: hdmi-hpd {
		samsung,pins = "gpx3-7";
		samsung,pin-pud = <EXYNOS_PIN_PULL_DOWN>;
	};

	tsp_rst: tsp-rst {
		samsung,pins = "gpm0-4", "gpm4-5";
		samsung,pin-function = <EXYNOS_PIN_FUNC_OUTPUT>;
		samsung,pin-pud = <EXYNOS_PIN_PULL_NONE>;
		samsung,pin-val = <1>;
	};

	tsp_int: tsp-int {
		samsung,pins = "gpm2-3";
		samsung,pin-function = <EXYNOS_PIN_FUNC_F>;
		samsung,pin-pud = <EXYNOS_PIN_PULL_UP>;
	};

	wifi_on: wifi-on {
		samsung,pins = "gpm3-5";
		samsung,pin-function = <EXYNOS_PIN_FUNC_OUTPUT>;
		samsung,pin-pud = <EXYNOS_PIN_PULL_NONE>;
		samsung,pin-val = <1>;
	};

	sd3_wifi: sd3-wifi {
		samsung,pins = "gpk3-3", "gpk3-4", "gpk3-5", "gpk3-6";
		samsung,pin-function = <EXYNOS_PIN_FUNC_2>;
		samsung,pin-pud = <EXYNOS_PIN_PULL_NONE>;
	};

	charger_change: charger-change {
		samsung,pins = "gpm0-3";
		samsung,pin-function = <EXYNOS_PIN_FUNC_F>;
		samsung,pin-pud = <EXYNOS_PIN_PULL_NONE>;
	};

	main_mic_bias: main-mic-bias {
		samsung,pins = "gpm0-0";
		samsung,pin-function = <EXYNOS_PIN_FUNC_OUTPUT>;
		samsung,pin-pud = <EXYNOS_PIN_PULL_NONE>;
	};

	ak8975_interrupt: ak8975-interrupt {
		samsung,pins = "gpm4-7";
		samsung,pin-function = <EXYNOS_PIN_FUNC_F>;
		samsung,pin-pud = <EXYNOS_PIN_PULL_DOWN>;
	};

	sensor_init: sensor-init {
		samsung,pins = "gpl0-2", "gpl0-1";
		samsung,pin-function = <EXYNOS_PIN_FUNC_INPUT>;
		samsung,pin-pud = <EXYNOS_PIN_PULL_DOWN>;
	};

	sleep1: sleep-states {
		PIN_SLP(gpk0-0, PREV, NONE); /* NAND_CLK */
		PIN_SLP(gpk0-1, PREV, NONE); /* NAND_CMD */
		PIN_SLP(gpk0-2, PREV, NONE); /* eMMC_EN */
		PIN_SLP(gpk0-3, PREV, NONE); /* NAND_D(0) */
		PIN_SLP(gpk0-4, PREV, NONE); /* NAND_D(1) */
		PIN_SLP(gpk0-5, PREV, NONE); /* NAND_D(2) */
		PIN_SLP(gpk0-6, PREV, NONE); /* NAND_D(3) */

		PIN_SLP(gpk1-0, INPUT, DOWN);
		PIN_SLP(gpk1-1, INPUT, DOWN); /* NC */
		PIN_SLP(gpk1-2, INPUT, DOWN);
		PIN_SLP(gpk1-3, PREV, NONE); /* NAND_D(4) */
		PIN_SLP(gpk1-4, PREV, NONE); /* NAND_D(5) */
		PIN_SLP(gpk1-5, PREV, NONE); /* NAND_D(6) */
		PIN_SLP(gpk1-6, PREV, NONE); /* NAND_D(7) */

		PIN_SLP(gpk2-0, INPUT, DOWN);
		PIN_SLP(gpk2-1, INPUT, DOWN);
		PIN_SLP(gpk2-2, INPUT, DOWN); /* NC */
		PIN_SLP(gpk2-3, INPUT, DOWN);
		PIN_SLP(gpk2-4, INPUT, DOWN);
		PIN_SLP(gpk2-5, INPUT, DOWN);
		PIN_SLP(gpk2-6, INPUT, DOWN);

		PIN_SLP(gpk3-0, OUT0, NONE);
		PIN_SLP(gpk3-1, INPUT, NONE);
		PIN_SLP(gpk3-2, INPUT, DOWN); /* NC */
		PIN_SLP(gpk3-3, INPUT, NONE);
		PIN_SLP(gpk3-4, INPUT, NONE);
		PIN_SLP(gpk3-5, INPUT, NONE);
		PIN_SLP(gpk3-6, INPUT, NONE);

		PIN_SLP(gpl0-0, OUT0, NONE); /* ACTIVE_STATE_HSIC */
		PIN_SLP(gpl0-1, INPUT, NONE); /* PS_ALS_SCL_1.8V */
		PIN_SLP(gpl0-2, INPUT, NONE); /* PS_ALS_SDA_1.8V */
		PIN_SLP(gpl0-3, INPUT, DOWN); /* NC(IRDA_CONTROL) */
		PIN_SLP(gpl0-4, PREV, NONE); /* HDMI_EN */
		PIN_SLP(gpl0-6, PREV, NONE);

		PIN_SLP(gpl1-0, OUT0, NONE); /* PDA_ACTIVE */
		PIN_SLP(gpl1-1, OUT0, NONE); /* 3M_nRST */

		PIN_SLP(gpl2-0, INPUT, DOWN);
		PIN_SLP(gpl2-1, INPUT, DOWN); /* NC */
		PIN_SLP(gpl2-2, INPUT, DOWN); /* NC */
		PIN_SLP(gpl2-3, INPUT, DOWN);
		PIN_SLP(gpl2-4, OUT0, NONE); /* MOTOR_EN */
		PIN_SLP(gpl2-5, INPUT, DOWN); /* CP_ON(NC) */
		PIN_SLP(gpl2-6, PREV, NONE);
		PIN_SLP(gpl2-7, PREV, NONE); /* UART_SEL */

		PIN_SLP(gpm0-0, PREV, NONE); /* MICBIAS_EN */
		PIN_SLP(gpm0-1, OUT0, NONE); /* LED_BACKLIGHT_RESET */
		PIN_SLP(gpm0-2, INPUT, DOWN); /* NC */
		PIN_SLP(gpm0-3, INPUT, NONE); /* TA_nCHG */
		PIN_SLP(gpm0-4, OUT0, NONE); /* TSP_RST */
		PIN_SLP(gpm0-5, OUT0, NONE); /* LVDS_nSHDN */
		PIN_SLP(gpm0-6, INPUT, DOWN); /* NC */
		PIN_SLP(gpm0-7, OUT0, NONE); /* USB_SEL_CP */

		PIN_SLP(gpm1-0, INPUT, NONE); /* MOTOR_I2C_SDA */
		PIN_SLP(gpm1-1, INPUT, NONE); /* MOTOR_I2C_SCL */
		PIN_SLP(gpm1-2, INPUT, NONE); /* HW_REV0 */
		PIN_SLP(gpm1-3, INPUT, NONE); /* HW_REV1 */
		PIN_SLP(gpm1-4, INPUT, NONE); /* HW_REV2 */
		PIN_SLP(gpm1-5, INPUT, NONE); /* HW_REV3 */
		PIN_SLP(gpm1-6, INPUT, DOWN); /* NC */

		PIN_SLP(gpm2-0, INPUT, NONE); /* NC */
		PIN_SLP(gpm2-1, INPUT, NONE); /* NC */
		PIN_SLP(gpm2-2, OUT0, NONE); /* VT_CAM_MCLK */
		PIN_SLP(gpm2-3, INPUT, DOWN); /* NC */
		/*  SUSPEND_REQUEST_HSIC for 3G, AP2MDM_WAKEUP for LTE, NC */
		PIN_SLP(gpm2-4, INPUT, DOWN);

		PIN_SLP(gpm3-0, PREV, NONE); /* PMIC_DVS1 */
		PIN_SLP(gpm3-1, PREV, NONE); /* PMIC_DVS2 */
		PIN_SLP(gpm3-2, PREV, NONE); /* PMIC_DVS3 */
		PIN_SLP(gpm3-3, OUT1, NONE); /* RESET_REQ_N */
		PIN_SLP(gpm3-4, OUT0, DOWN); /* AP_DUMP_INT */
		PIN_SLP(gpm3-5, PREV, NONE); /* WLAN_EN */
		PIN_SLP(gpm3-6, PREV, NONE); /* CAM_MOVIE_EN */
		PIN_SLP(gpm3-7, OUT0, NONE); /* CAM_FLASH_EN */

		PIN_SLP(gpm4-0, INPUT, NONE); /* ADC_I2C_SCL_1.8V */
		PIN_SLP(gpm4-1, INPUT, NONE); /* ADC_I2C_SDA_1.8V */
		PIN_SLP(gpm4-2, INPUT, DOWN); /* VT_CAM_SCL_1.8V */
		PIN_SLP(gpm4-3, INPUT, DOWN); /* VT_CAM_SDA_1.8V */
		PIN_SLP(gpm4-4, PREV, NONE); /* CODEC_LDO_EN */
		PIN_SLP(gpm4-5, OUT0, NONE); /* TSP_LDO_ON */
		PIN_SLP(gpm4-6, OUT0, NONE); /* USB_OTG_EN */
		PIN_SLP(gpm4-7, INPUT, DOWN); /* MSENSE_INT */

		PIN_SLP(gpy0-0, INPUT, DOWN);
		PIN_SLP(gpy0-1, INPUT, DOWN);
		PIN_SLP(gpy0-2, INPUT, NONE); /* NC */
		PIN_SLP(gpy0-3, INPUT, NONE); /* NC */
		PIN_SLP(gpy0-4, INPUT, NONE); /* USB_SEL0 */
		PIN_SLP(gpy0-5, INPUT, NONE); /* USB_SEL1 */

		PIN_SLP(gpy1-0, INPUT, DOWN); /* NC */
		PIN_SLP(gpy1-1, INPUT, DOWN); /* NC */
		PIN_SLP(gpy1-2, INPUT, DOWN);	/* NC */
		PIN_SLP(gpy1-3, INPUT, DOWN); /* NC */

		PIN_SLP(gpy2-0, PREV, NONE); /* TF_EN */
		PIN_SLP(gpy2-1, INPUT, DOWN); /* NC */
		PIN_SLP(gpy2-2, INPUT, NONE);
		PIN_SLP(gpy2-3, INPUT, NONE);
		PIN_SLP(gpy2-4, INPUT, NONE);
		PIN_SLP(gpy2-5, INPUT, NONE);

		PIN_SLP(gpy3-0, INPUT, DOWN);
		PIN_SLP(gpy3-1, INPUT, DOWN);
		PIN_SLP(gpy3-2, INPUT, DOWN);
		PIN_SLP(gpy3-3, INPUT, DOWN);
		PIN_SLP(gpy3-4, INPUT, DOWN);
		PIN_SLP(gpy3-5, INPUT, DOWN);
		PIN_SLP(gpy3-6, INPUT, DOWN);
		PIN_SLP(gpy3-7, INPUT, DOWN);

		PIN_SLP(gpy4-0, INPUT, DOWN);
		PIN_SLP(gpy4-1, INPUT, DOWN);
		PIN_SLP(gpy4-2, INPUT, DOWN);
		PIN_SLP(gpy4-3, INPUT, DOWN);
		PIN_SLP(gpy4-4, INPUT, DOWN);
		PIN_SLP(gpy4-5, INPUT, DOWN);
		PIN_SLP(gpy4-6, INPUT, DOWN);
		PIN_SLP(gpy4-7, INPUT, DOWN);

		PIN_SLP(gpy5-0, INPUT, DOWN);
		PIN_SLP(gpy5-1, INPUT, DOWN);
		PIN_SLP(gpy5-2, INPUT, DOWN);
		PIN_SLP(gpy5-3, INPUT, DOWN);
		PIN_SLP(gpy5-4, INPUT, DOWN);
		PIN_SLP(gpy5-5, INPUT, DOWN);
		PIN_SLP(gpy5-6, INPUT, DOWN);
		PIN_SLP(gpy5-7, INPUT, DOWN);

		PIN_SLP(gpy6-0, INPUT, DOWN);
		PIN_SLP(gpy6-1, INPUT, DOWN);
		PIN_SLP(gpy6-2, INPUT, DOWN);
		PIN_SLP(gpy6-3, INPUT, DOWN);
		PIN_SLP(gpy6-4, INPUT, DOWN);
		PIN_SLP(gpy6-5, INPUT, DOWN);
		PIN_SLP(gpy6-6, INPUT, DOWN);
		PIN_SLP(gpy6-7, INPUT, DOWN);
	};
};

&pinctrl_2 {
	pinctrl-names = "default";
	pinctrl-0 = <&sleep2>;

	sleep2: sleep-states {
		PIN_SLP(gpz-0, INPUT, DOWN);
		PIN_SLP(gpz-1, INPUT, DOWN); /* NC */
		PIN_SLP(gpz-2, INPUT, DOWN);
		PIN_SLP(gpz-3, INPUT, DOWN);
		PIN_SLP(gpz-4, INPUT, DOWN);
		PIN_SLP(gpz-5, INPUT, DOWN); /* NC */
		PIN_SLP(gpz-6, INPUT, DOWN); /* NC */
	};
};

&pinctrl_3 {
	pinctrl-names = "default";
	pinctrl-0 = <&sleep3>;

	sleep3: sleep-states {
		PIN_SLP(gpv0-0, INPUT, DOWN);
		PIN_SLP(gpv0-1, INPUT, DOWN);
		PIN_SLP(gpv0-2, INPUT, DOWN);
		PIN_SLP(gpv0-3, INPUT, DOWN);
		PIN_SLP(gpv0-4, INPUT, DOWN);
		PIN_SLP(gpv0-5, INPUT, DOWN);
		PIN_SLP(gpv0-6, INPUT, DOWN);
		PIN_SLP(gpv0-7, INPUT, DOWN);

		PIN_SLP(gpv1-0, INPUT, DOWN);
		PIN_SLP(gpv1-1, INPUT, DOWN);
		PIN_SLP(gpv1-2, INPUT, DOWN);
		PIN_SLP(gpv1-3, INPUT, DOWN);
		PIN_SLP(gpv1-4, INPUT, DOWN);
		PIN_SLP(gpv1-5, INPUT, DOWN);
		PIN_SLP(gpv1-6, INPUT, DOWN);
		PIN_SLP(gpv1-7, INPUT, DOWN);

		PIN_SLP(gpv2-0, INPUT, DOWN);
		PIN_SLP(gpv2-1, INPUT, DOWN);
		PIN_SLP(gpv2-2, INPUT, DOWN);
		PIN_SLP(gpv2-3, INPUT, DOWN);
		PIN_SLP(gpv2-4, INPUT, DOWN);
		PIN_SLP(gpv2-5, INPUT, DOWN);
		PIN_SLP(gpv2-6, INPUT, DOWN);
		PIN_SLP(gpv2-7, INPUT, DOWN);

		PIN_SLP(gpv3-0, INPUT, DOWN);
		PIN_SLP(gpv3-1, INPUT, DOWN);
		PIN_SLP(gpv3-2, INPUT, DOWN);
		PIN_SLP(gpv3-3, INPUT, DOWN);
		PIN_SLP(gpv3-4, INPUT, DOWN);
		PIN_SLP(gpv3-5, INPUT, DOWN);
		PIN_SLP(gpv3-6, INPUT, DOWN);
		PIN_SLP(gpv3-7, INPUT, DOWN);

		PIN_SLP(gpv4-0, INPUT, DOWN);
		PIN_SLP(gpv4-1, INPUT, DOWN);
	};
};

&pwm {
	pinctrl-0 = <&pwm0_out>;
	pinctrl-names = "default";
	samsung,pwm-outputs = <0>;
	status = "okay";
};

&rtc {
	status = "okay";
	clocks = <&clock CLK_RTC>, <&max77686 MAX77686_CLK_AP>;
	clock-names = "rtc", "rtc_src";
};

&serial_0 {
	status = "okay";

	bluetooth {
		compatible = "brcm,bcm43438-bt";
		shutdown-gpios = <&gpl0 6 GPIO_ACTIVE_HIGH>;
		device-wakeup-gpios = <&gpx3 1 GPIO_ACTIVE_HIGH>;
		host-wakeup-gpios = <&gpx2 6 GPIO_ACTIVE_HIGH>;
		clocks = <&max77686 MAX77686_CLK_PMIC>;
	};
};

&serial_1 {
	status = "okay";
};

&serial_2 {
	status = "okay";
};

&serial_3 {
	status = "okay";
};

&tmu {
	vtmu-supply = <&ldo10_reg>;
	status = "okay";
};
